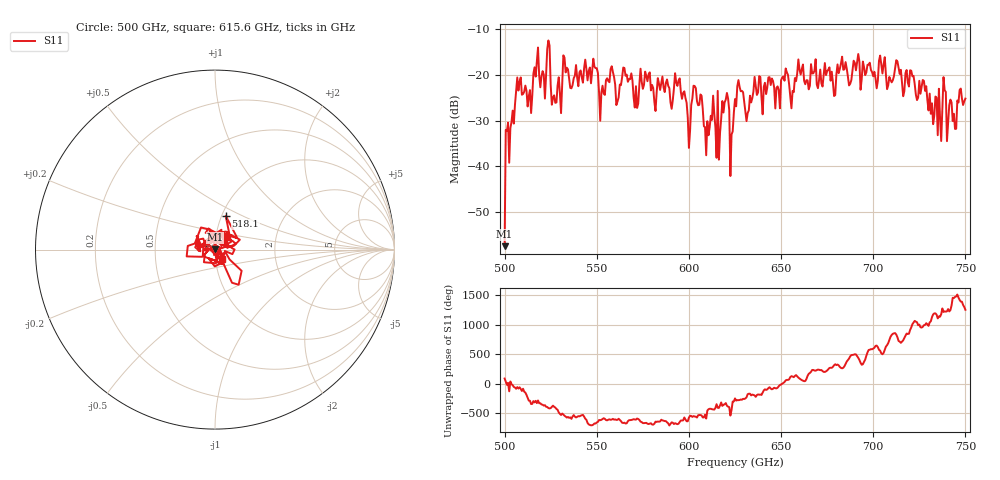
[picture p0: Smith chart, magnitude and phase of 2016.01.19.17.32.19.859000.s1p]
!Created with skrf (http://scikit-rf.org).
# GHz S RI R 50.0
!freq ReS11 ImS11
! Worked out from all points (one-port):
!   401 points, 500 GHz to 750 GHz, reference 50 ohm
!   lowest |S11| = -57.4 dB at 500 GHz (marker M1), VSWR 1.00, Z = 50 + j0.135 ohm
!   |S11| at or under -10 dB: start of sweep to end of sweep
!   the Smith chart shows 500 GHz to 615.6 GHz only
!   S11 on the Smith chart (normalised r, x): 500 GHz: 1.00, +0.00; 518.1 GHz: 1.05, +0.41; 615.6 GHz: 1.08, -0.11
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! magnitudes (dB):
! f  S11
! 500 GHz  -57.4
! 501.9 GHz  -30.5
! 507.5 GHz  -23.5
! 513.8 GHz  -23.4
! 518.1 GHz  -14.1
! 523.8 GHz  -12.5
! 526.9 GHz  -24.5
! 531.2 GHz  -21.8
! 548.8 GHz  -18.3
! 552.5 GHz  -23.9
! 558.1 GHz  -18.2
! 562.5 GHz  -22.2
! 593.8 GHz  -22.4
! 599.4 GHz  -29.3
! 603.1 GHz  -22.5
! 609.4 GHz  -37.6
! 613.1 GHz  -24.6
! 615.6 GHz  -23.5
! 619.4 GHz  -26.0
! 623.1 GHz  -33.0
! 625 GHz  -25.3
! 652.5 GHz  -18.6
! 656.2 GHz  -23.5
! 660.6 GHz  -20.0
! 687.5 GHz  -22.0
! 718.8 GHz  -21.7
! 736.2 GHz  -29.4
! 750 GHz  -25.2
